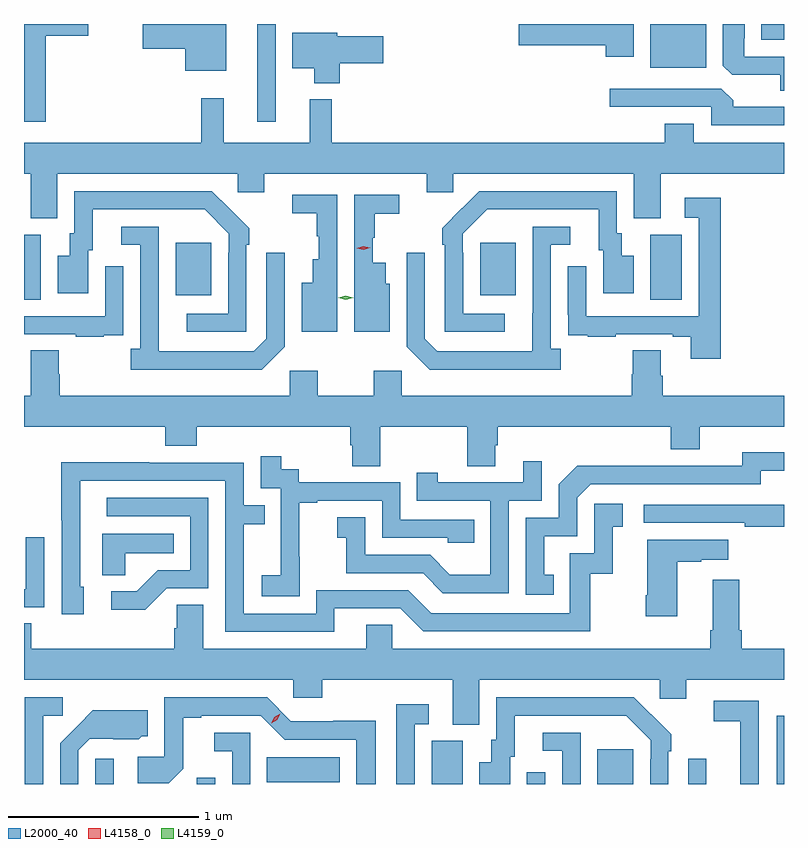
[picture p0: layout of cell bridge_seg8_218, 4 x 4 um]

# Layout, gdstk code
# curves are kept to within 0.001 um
import gdstk
lib = gdstk.Library(unit=1e-6, precision=1e-09)
def R(c, l, rs):  # rectangles x0, y0, x1, y1
    for r in rs: c.add(gdstk.rectangle(r[:2], r[2:], *l))
def P(c, l, *ps):  # polygons
    for p in ps: c.add(gdstk.Polygon(p, *l))
L2000_40 = (2000, 40)
L4158_0 = (4158, 0)
L4159_0 = (4159, 0)

bridge_seg8_218 = lib.new_cell('bridge_seg8_218')
R(bridge_seg8_218, L2000_40, [(142.017,1106.628,142.113,1106.761), (142.549,1106.628,142.647,1106.66), (143.786,1106.628,143.95,1106.856), (144.288,1106.628,144.384,1106.689), (144.659,1106.628,144.847,1106.812), (145.137,1106.628,145.233,1106.761), (145.604,1106.628,145.641,1106.986), (142.918,1106.636,143.302,1106.77), (141.641,1109.176,141.73,1109.52), (144.938,1109.176,145.102,1109.52), (142.439,1109.201,142.627,1109.476), (144.041,1109.201,144.229,1109.476), (142.868,1110.114,142.965,1110.628), (144.938,1110.398,145.231,1110.628), (145.52,1110.545,145.641,1110.628)])
P(bridge_seg8_218, L2000_40, [(142.705,1110.628),(142.266,1110.628),(142.266,1110.497),(142.49,1110.497),(142.49,1110.383),(142.705,1110.383)],
  [(141.755,1110.566),(141.979,1110.566),(141.979,1110.628),(141.641,1110.628),(141.641,1110.114),(141.755,1110.114)],
  [(145.641,1110.456),(145.431,1110.456),(145.431,1110.553),(145.435,1110.553),(145.435,1110.628),(145.319,1110.628),(145.319,1110.409),(145.368,1110.36),(145.622,1110.36),(145.622,1110.277),(145.641,1110.277)],
  [(144.85,1110.628),(144.246,1110.628),(144.246,1110.515),(144.704,1110.515),(144.704,1110.456),(144.85,1110.456)],
  [(143.303,1110.421),(143.533,1110.421),(143.533,1110.563),(143.29,1110.563),(143.29,1110.583),(143.054,1110.583),(143.054,1110.395),(143.168,1110.395),(143.168,1110.317),(143.303,1110.317)],
  [(145.641,1110.192),(145.373,1110.192),(145.373,1110.226),(145.311,1110.288),(144.723,1110.288),(144.723,1110.192),(145.257,1110.192),(145.257,1110.096),(145.641,1110.096)],
  [(141.817,1109.84),(142.767,1109.84),(142.767,1109.742),(142.906,1109.742),(142.906,1109.84),(143.762,1109.84),(143.762,1109.742),(143.901,1109.742),(143.901,1109.84),(144.851,1109.84),(144.851,1109.605),(144.991,1109.605),(144.991,1109.84),(145.641,1109.84),(145.641,1110.004),(145.165,1110.004),(145.165,1110.103),(145.013,1110.103),(145.013,1110.004),(143.261,1110.004),(143.261,1110.232),(143.144,1110.232),(143.144,1110.004),(142.691,1110.004),(142.691,1110.238),(142.573,1110.238),(142.573,1110.004),(141.641,1110.004),(141.641,1109.84),(141.677,1109.84),(141.677,1109.605),(141.817,1109.605)],
  [(142.812,1109.465),(142.827,1109.465),(142.827,1109.553),(142.63,1109.748),(141.906,1109.748),(141.906,1109.526),(141.881,1109.526),(141.881,1109.407),(141.818,1109.407),(141.818,1109.211),(141.979,1109.211),(141.979,1109.436),(142.003,1109.436),(142.003,1109.652),(142.591,1109.652),(142.719,1109.523),(142.719,1109.423),(142.716,1109.423),(142.716,1109.103),(142.497,1109.103),(142.497,1109.007),(142.812,1109.007)],
  [(144.172,1109.103),(143.952,1109.103),(143.952,1109.423),(143.949,1109.423),(143.949,1109.523),(144.078,1109.652),(144.665,1109.652),(144.665,1109.436),(144.689,1109.436),(144.689,1109.211),(144.85,1109.211),(144.85,1109.407),(144.787,1109.407),(144.787,1109.526),(144.762,1109.526),(144.762,1109.748),(144.038,1109.748),(143.841,1109.553),(143.841,1109.465),(143.856,1109.465),(143.856,1109.007),(144.172,1109.007)],
  [(143.29,1109.262),(143.289,1109.262),(143.289,1109.73),(143.052,1109.73),(143.052,1109.632),(143.181,1109.632),(143.181,1109.511),(143.192,1109.511),(143.192,1109.389),(143.162,1109.389),(143.162,1109.266),(143.102,1109.266),(143.102,1109.009),(143.29,1109.009)],
  [(143.566,1109.262),(143.545,1109.262),(143.545,1109.371),(143.477,1109.371),(143.477,1109.502),(143.488,1109.502),(143.488,1109.629),(143.617,1109.629),(143.617,1109.73),(143.379,1109.73),(143.379,1109.262),(143.378,1109.262),(143.378,1109.009),(143.566,1109.009)],
  [(145.307,1109.713),(145.119,1109.713),(145.119,1109.607),(145.191,1109.607),(145.191,1109.091),(144.6,1109.091),(144.6,1109.353),(144.504,1109.353),(144.504,1109.098),(144.505,1109.098),(144.505,1108.989),(144.607,1108.989),(144.607,1108.983),(144.755,1108.983),(144.755,1108.995),(145.055,1108.995),(145.055,1108.983),(145.151,1108.983),(145.151,1108.866),(145.307,1108.866)],
  [(144.466,1108.918),(144.414,1108.918),(144.414,1109.466),(144.517,1109.466),(144.517,1109.562),(144.318,1109.562),(144.317,1108.905),(143.817,1108.905),(143.751,1108.971),(143.751,1109.425),(143.655,1109.425),(143.655,1108.929),(143.776,1108.808),(144.466,1108.808)],
  [(143.013,1108.929),(143.013,1109.425),(142.917,1109.425),(142.917,1108.971),(142.851,1108.905),(142.351,1108.905),(142.35,1109.562),(142.152,1109.562),(142.152,1109.466),(142.254,1109.466),(142.254,1108.918),(142.203,1108.918),(142.203,1108.808),(142.892,1108.808)],
  [(142.061,1108.989),(142.163,1108.989),(142.163,1109.098),(142.164,1109.098),(142.164,1109.353),(142.068,1109.353),(142.068,1109.091),(141.641,1109.091),(141.641,1108.995),(141.913,1108.995),(141.913,1108.983),(142.061,1108.983)],
  [(143.517,1108.508),(143.974,1108.508),(143.974,1108.3),(144.121,1108.3),(144.121,1108.41),(144.134,1108.41),(144.134,1108.508),(145.046,1108.508),(145.046,1108.391),(145.198,1108.391),(145.198,1108.508),(145.641,1108.508),(145.641,1108.672),(145.004,1108.672),(145.004,1108.778),(144.991,1108.778),(144.991,1108.91),(144.844,1108.91),(144.844,1108.785),(144.839,1108.785),(144.839,1108.672),(143.628,1108.672),(143.628,1108.804),(143.482,1108.804),(143.482,1108.672),(143.187,1108.672),(143.187,1108.804),(143.04,1108.804),(143.04,1108.672),(141.83,1108.672),(141.83,1108.785),(141.825,1108.785),(141.825,1108.91),(141.677,1108.91),(141.677,1108.672),(141.641,1108.672),(141.641,1108.508),(142.385,1108.508),(142.385,1108.409),(142.55,1108.409),(142.55,1108.508),(143.357,1108.508),(143.357,1108.41),(143.369,1108.41),(143.369,1108.3),(143.517,1108.3)],
  [(144.428,1107.729),(144.379,1107.729),(144.379,1107.933),(144.552,1107.933),(144.552,1108.134),(144.624,1108.206),(145.518,1108.206),(145.518,1108.278),(145.641,1108.278),(145.641,1108.375),(145.422,1108.375),(145.422,1108.302),(144.962,1108.302),(144.962,1108.304),(144.554,1108.304),(144.456,1108.206),(144.456,1108.029),(144.282,1108.029),(144.282,1107.624),(144.428,1107.624)],
  [(143.091,1107.823),(143.09,1107.823),(143.09,1108.107),(143.185,1108.107),(143.185,1108.119),(143.526,1108.119),(143.526,1107.924),(143.871,1107.924),(143.871,1107.897),(144.011,1107.897),(144.011,1108.02),(143.622,1108.02),(143.622,1108.215),(143.088,1108.215),(143.088,1108.284),(142.996,1108.284),(142.996,1108.354),(142.887,1108.354),(142.887,1108.185),(142.992,1108.185),(142.992,1107.956),(142.991,1107.956),(142.991,1107.727),(142.893,1107.727),(142.893,1107.617),(143.091,1107.617)],
  [(144.192,1108.119),(144.366,1108.119),(144.366,1108.327),(144.269,1108.327),(144.269,1108.215),(143.818,1108.215),(143.818,1108.267),(143.707,1108.267),(143.707,1108.119),(144.096,1108.119),(144.096,1107.73),(143.882,1107.73),(143.778,1107.834),(143.436,1107.834),(143.436,1108.033),(143.289,1108.033),(143.289,1107.923),(143.338,1107.923),(143.338,1107.738),(143.741,1107.738),(143.846,1107.633),(144.192,1107.633)],
  [(143.275,1107.552),(143.622,1107.552),(143.742,1107.432),(144.622,1107.432),(144.622,1107.735),(144.74,1107.735),(144.74,1107.981),(144.793,1107.981),(144.793,1108.102),(144.642,1108.102),(144.642,1107.843),(144.513,1107.843),(144.513,1107.528),(143.784,1107.528),(143.664,1107.648),(143.178,1107.648),(143.178,1107.525),(142.797,1107.525),(142.797,1107.994),(142.907,1107.994),(142.907,1108.095),(142.797,1108.095),(142.797,1108.32),(142.301,1108.32),(142.301,1108.322),(141.838,1108.322),(141.838,1108.015),(141.84,1108.015),(141.84,1107.522),(141.955,1107.522),(141.955,1107.666),(141.936,1107.666),(141.936,1108.224),(142.701,1108.224),(142.701,1107.429),(143.275,1107.429)],
  [(142.392,1107.657),(142.611,1107.657),(142.611,1108.134),(142.077,1108.134),(142.077,1108.038),(142.515,1108.038),(142.515,1107.753),(142.346,1107.753),(142.235,1107.642),(142.101,1107.642),(142.101,1107.545),(142.279,1107.545)],
  [(145.641,1108.098),(144.903,1108.098),(144.903,1108.002),(145.435,1108.002),(145.435,1107.982),(145.641,1107.982)],
  [(142.173,1107.842),(142.43,1107.842),(142.43,1107.946),(142.052,1107.946),(142.052,1107.727),(142.173,1107.727)],
  [(141.747,1107.928),(141.651,1107.928),(141.651,1107.654),(141.641,1107.654),(141.641,1107.558),(141.747,1107.558)],
  [(145.078,1107.799),(145.205,1107.799),(145.205,1107.809),(145.348,1107.809),(145.348,1107.913),(144.92,1107.913),(144.92,1107.622),(144.913,1107.622),(144.913,1107.51),(145.078,1107.51)],
  [(144.037,1107.176),(144.987,1107.176),(144.987,1107.078),(145.126,1107.078),(145.126,1107.176),(145.641,1107.176),(145.641,1107.34),(145.418,1107.34),(145.418,1107.436),(145.405,1107.436),(145.405,1107.703),(145.265,1107.703),(145.265,1107.436),(145.253,1107.436),(145.253,1107.34),(143.58,1107.34),(143.58,1107.467),(143.441,1107.467),(143.441,1107.34),(142.585,1107.34),(142.585,1107.572),(142.446,1107.572),(142.446,1107.449),(142.433,1107.449),(142.433,1107.34),(141.68,1107.34),(141.68,1107.473),(141.641,1107.473),(141.641,1107.176),(143.058,1107.176),(143.058,1107.083),(143.21,1107.083),(143.21,1107.176),(143.897,1107.176),(143.897,1106.941),(144.037,1106.941)],
  [(144.199,1106.772),(144.223,1106.772),(144.223,1106.988),(144.811,1106.988),(144.939,1106.859),(144.939,1106.759),(144.936,1106.759),(144.936,1106.628),(145.032,1106.628),(145.032,1106.801),(145.047,1106.801),(145.047,1106.889),(144.85,1107.084),(144.126,1107.084),(144.126,1106.862),(144.101,1106.862),(144.101,1106.743),(144.038,1106.743),(144.038,1106.628),(144.199,1106.628)],
  [(143.491,1106.96),(143.268,1106.96),(143.268,1106.958),(143.046,1106.958),(142.92,1107.084),(142.38,1107.084),(142.38,1106.772),(142.239,1106.772),(142.239,1106.632),(142.403,1106.632),(142.479,1106.708),(142.479,1106.976),(142.573,1106.976),(142.573,1106.988),(142.887,1106.988),(143.013,1106.862),(143.39,1106.862),(143.39,1106.628),(143.491,1106.628)],
  [(141.741,1106.988),(141.844,1106.988),(141.844,1107.084),(141.645,1107.084),(141.645,1106.628),(141.741,1106.628)],
  [(145.509,1107.066),(145.272,1107.066),(145.272,1106.958),(145.412,1106.958),(145.412,1106.628),(145.509,1106.628)],
  [(143.697,1106.943),(143.77,1106.943),(143.77,1107.049),(143.601,1107.049),(143.601,1106.628),(143.697,1106.628)],
  [(141.927,1106.805),(141.987,1106.865),(142.244,1106.864),(142.26,1106.88),(142.291,1106.88),(142.291,1107.016),(142.003,1107.016),(141.831,1106.842),(141.831,1106.628),(141.927,1106.628)],
  [(142.833,1106.898),(142.641,1106.898),(142.641,1106.801),(142.737,1106.801),(142.737,1106.628),(142.833,1106.628)],
  [(144.57,1106.898),(144.372,1106.898),(144.372,1106.802),(144.474,1106.802),(144.474,1106.628),(144.57,1106.628)])
P(bridge_seg8_218, L4158_0, [(143.428,1109.439),(143.392,1109.448),(143.392,1109.448),(143.392,1109.448),(143.427,1109.459),(143.462,1109.451),(143.463,1109.451),(143.462,1109.451)],
  [(142.941,1106.947),(142.941,1106.948),(142.958,1106.98),(142.99,1106.999),(142.99,1106.999),(142.99,1106.999),(142.973,1106.966),(142.941,1106.947)])
P(bridge_seg8_218, L4159_0, [(143.334,1109.178),(143.294,1109.188),(143.294,1109.188),(143.294,1109.188),(143.334,1109.198),(143.374,1109.188),(143.374,1109.188),(143.374,1109.188)])

lib.write_gds('bridge_seg8_218.gds')
